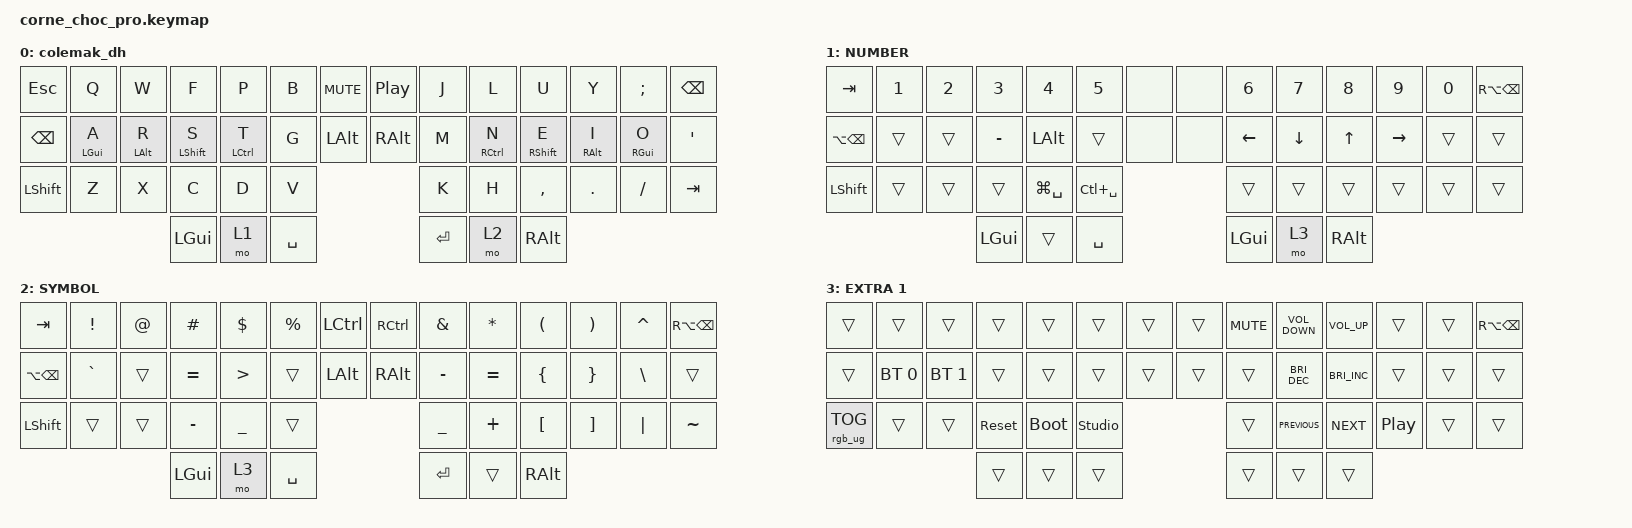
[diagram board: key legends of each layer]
/*
 * Copyright (c) 2020 The ZMK Contributors
 *
 * SPDX-License-Identifier: MIT
 */

#include <behaviors.dtsi>
#include <dt-bindings/zmk/bt.h>
#include <dt-bindings/zmk/keys.h>
#include <dt-bindings/zmk/rgb.h>

/ {
    chosen { zmk,physical-layout = &default_layout; };
};

/ {
    combos { compatible = "zmk,combos"; };

    behaviors {
        hml: hml {
            compatible = "zmk,behavior-hold-tap";
            label = "HML";
            bindings = <&kp>, <&kp>;

            #binding-cells = <2>;
            tapping-term-ms = <280>;
            quick-tap-ms = <175>;
            flavor = "balanced";
            hold-trigger-key-positions = <40 41 42 43 44 45 7 21 22 34 8 9 10 11 12 13 27 26 25 24 23 35 36 37 38 39>;
            hold-trigger-on-release;
            require-prior-idle-ms = <150>;
        };

        hmr: hmr {
            compatible = "zmk,behavior-hold-tap";
            label = "HMR";
            bindings = <&kp>, <&kp>;

            #binding-cells = <2>;
            tapping-term-ms = <280>;
            quick-tap-ms = <175>;
            flavor = "balanced";
            hold-trigger-key-positions = <43 44 45 40 41 42 0 1 2 3 4 5 6 14 15 16 17 18 19 20 28 29 30 31 32 33 40 41 42>;
            hold-trigger-on-release;
            require-prior-idle-ms = <150>;
        };
    };

    keymap {
        compatible = "zmk,keymap";

        default_layer {
            display-name = "colemak_dh";

            // --------------------------------------------------------------------------------
            // |  TAB |  Q  |  W  |  E  |  R  |  T  |  MUTE |  PP   |  Y  |  U   |  I  |  O  |  P  | BSPC |
            // | CTRL |  A  |  S  |  D  |  F  |  G  |  LALT |  RALT |  H  |  J   |  K  |  L  |  ;  |  '   |
            // | SHFT |  Z  |  X  |  C  |  V  |  B  |               |  N  |  M   |  ,  |  .  |  /  | ESC  |
            //                    | GUI | LWR | SPC |               | ENT | RSE  | ALT |

            bindings = <
&kp ESCAPE     &kp Q        &kp W        &kp F          &kp P         &kp B      &kp C_MUTE  &kp C_PP  &kp J    &kp L         &kp U          &kp Y        &kp SEMICOLON  &kp BSPC
&kp BACKSPACE  &hml LGUI A  &hml LALT R  &hml LSHIFT S  &hml LCTRL T  &kp G      &kp LALT    &kp RALT  &kp M    &hmr RCTRL N  &hmr RSHIFT E  &hmr RALT I  &hmr RGUI O    &kp APOS
&kp LSHFT      &kp Z        &kp X        &kp C          &kp D         &kp V                            &kp K    &kp H         &kp COMMA      &kp DOT      &kp FSLH       &kp TAB
                                         &kp LEFT_GUI   &mo 1         &kp SPACE                        &kp RET  &mo 2         &kp RALT
            >;
        };

        Number {
            display-name = "NUMBER";

            // -----------------------------------------------------------------------------------------
            // |  TAB |  1  |  2  |  3  |  4  |  5    |  LCTRL | RCTRL |  6  |  7  |  8  |  9  |  0  | BSPC |
            // | CTRL | BT1 | BT2 | BT3 | BT4 | BT5   |  LALT  | RALT  | LFT | DWN |  UP | RGT |     |      |
            // | SHFT | BTCR| RGB | RST | BOOT| Unlock|        |       |     |     |     |     |     |      |
            //                    | GUI |     | SPC   |        | ENT   |     | ALT |

            bindings = <
&kp TAB            &kp NUMBER_1  &kp NUMBER_2  &kp NUMBER_3  &kp NUMBER_4   &kp NUMBER_5   &none  &none  &kp NUMBER_6    &kp NUMBER_7    &kp NUMBER_8   &kp NUMBER_9     &kp NUMBER_0  &kp RA(BACKSPACE)
&kp LA(BACKSPACE)  &trans        &trans        &kp MINUS     &kp LEFT_ALT   &trans         &none  &none  &kp LEFT_ARROW  &kp DOWN_ARROW  &kp UP_ARROW   &kp RIGHT_ARROW  &trans        &trans
&kp LSHFT          &trans        &trans        &trans        &kp LG(SPACE)  &kp LC(SPACE)                &trans          &trans          &trans         &trans           &trans        &trans
                                               &kp LGUI      &trans         &kp SPACE                    &kp LGUI        &mo 3           &kp RIGHT_ALT
            >;
        };

        Symbol {
            display-name = "SYMBOL";

            // -----------------------------------------------------------------------------------------
            // |  TAB |  !  |  @  |  #  |  $  |  %  | LCTRL | RCTRL |  ^  |  &  |  *  |  (  |  )  | BSPC |
            // | CTRL |     |     |     |     |     |  LALT | RALT  |  -  |  =  |  [  |  ]  |  \  |  `   |
            // | SHFT |     |     |     |     |     |               |  _  |  +  |  {  |  }  | "|" |  ~   |
            //                    | GUI |     | SPC |               | ENT |     | ALT |

            bindings = <
&kp TAB            &kp EXCL   &kp AT  &kp HASH   &kp DLLR          &kp PRCNT  &kp LCTRL  &kp RCTRL  &kp AMPERSAND  &kp ASTERISK  &kp LEFT_PARENTHESIS  &kp RIGHT_PARENTHESIS  &kp CARET  &kp RA(BSPC)
&kp LA(BACKSPACE)  &kp GRAVE  &trans  &kp EQUAL  &kp GREATER_THAN  &trans     &kp LALT   &kp RALT   &kp MINUS      &kp EQUAL     &kp LEFT_BRACE        &kp RIGHT_BRACE        &kp BSLH   &trans
&kp LSHFT          &trans     &trans  &kp MINUS  &kp UNDER         &trans                           &kp UNDER      &kp PLUS      &kp LEFT_BRACKET      &kp RIGHT_BRACKET      &kp PIPE   &kp TILDE
                                      &kp LGUI   &mo 3             &kp SPACE                        &kp RET        &trans        &kp RALT
            >;
        };

        Media {
            display-name = "EXTRA 1";
            bindings = <
&trans           &trans        &trans        &trans      &trans       &trans          &trans  &trans  &kp K_MUTE  &kp C_VOLUME_DOWN     &kp C_VOLUME_UP       &trans            &trans  &kp RA(BACKSPACE)
&trans           &bt BT_SEL 0  &bt BT_SEL 1  &trans      &trans       &trans          &trans  &trans  &trans      &kp C_BRIGHTNESS_DEC  &kp C_BRIGHTNESS_INC  &trans            &trans  &trans
&rgb_ug RGB_TOG  &trans        &trans        &sys_reset  &bootloader  &studio_unlock                  &trans      &kp C_PREVIOUS        &kp C_NEXT            &kp C_PLAY_PAUSE  &trans  &trans
                                             &trans      &trans       &trans                          &trans      &trans                &trans
            >;
        };
    };
};
